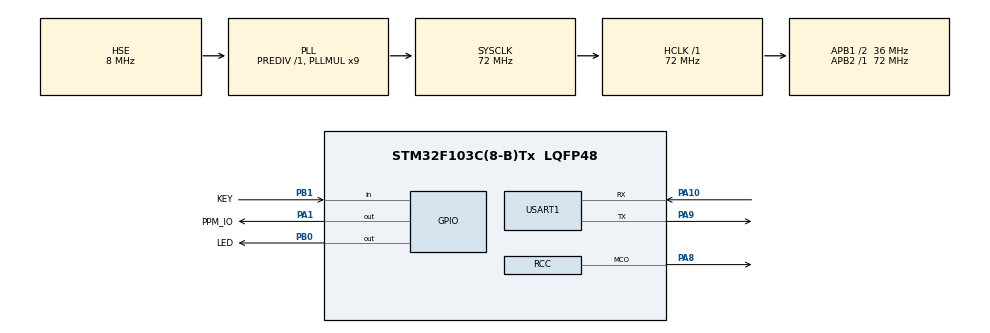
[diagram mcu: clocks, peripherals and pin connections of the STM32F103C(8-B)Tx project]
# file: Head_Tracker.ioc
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FREERTOS.Tasks01=defaultTask,0,128,StartDefaultTask,Default,NULL,Dynamic,NULL,NULL;UARTTask,-3,128,StartUARTTask,Default,NULL,Dynamic,NULL,NULL;PPMTask,-3,128,StartPPMTask,Default,NULL,Dynamic,NULL,NULL;KeyTask,-3,128,StartKeyTask,Default,NULL,Dynamic,NULL,NULL
Mcu.Family=STM32F1
Mcu.Name=STM32F103C(8-B)Tx
Mcu.Package=LQFP48
NVIC.PriorityGroup=NVIC_PRIORITYGROUP_4
NVIC.TIM4_IRQn=true\:15\:0\:false\:false\:true\:false\:false\:true\:true
NVIC.TimeBase=TIM4_IRQn
NVIC.TimeBaseIP=TIM4
PA1.GPIO_Label=PPM_IO
PA1.GPIO_ModeDefaultOutputPP=GPIO_MODE_OUTPUT_PP
PA1.Signal=GPIO_Output
PA10.Mode=Asynchronous
PA10.Signal=USART1_RX
PA13.Mode=Serial_Wire
PA13.Signal=SYS_JTMS-SWDIO
PA14.Mode=Serial_Wire
PA14.Signal=SYS_JTCK-SWCLK
PA8.Mode=Clock-out
PA8.Signal=RCC_MCO
PA9.Mode=Asynchronous
PA9.Signal=USART1_TX
PB0.GPIO_Label=LED
PB0.Signal=GPIO_Output
PB1.GPIO_Label=KEY
PB1.GPIO_PuPd=GPIO_PULLUP
PB1.Signal=GPIO_Input
PD0-OSC_IN.Mode=HSE-External-Oscillator
PD0-OSC_IN.Signal=RCC_OSC_IN
PD1-OSC_OUT.Mode=HSE-External-Oscillator
PD1-OSC_OUT.Signal=RCC_OSC_OUT
ProjectManager.HeapSize=0x200
ProjectManager.StackSize=0x400
ProjectManager.TargetToolchain=MDK-ARM V5.32
RCC.AHBFreq_Value=72000000
RCC.APB1CLKDivider=RCC_HCLK_DIV2
RCC.APB1Freq_Value=36000000
RCC.APB1TimFreq_Value=72000000
RCC.APB2Freq_Value=72000000
RCC.APB2TimFreq_Value=72000000
RCC.HCLKFreq_Value=72000000
RCC.PLLMUL=RCC_PLL_MUL9
RCC.PLLSourceVirtual=RCC_PLLSOURCE_HSE
RCC.RCC_MCOSource=RCC_MCO1SOURCE_PLLCLK
RCC.SYSCLKFreq_VALUE=72000000
RCC.SYSCLKSource=RCC_SYSCLKSOURCE_PLLCLK
RCC.USBFreq_Value=72000000
USART1.VirtualMode=VM_ASYNC
VP_FREERTOS_VS_CMSIS_V1.Mode=CMSIS_V1
VP_SYS_VS_tim4.Mode=TIM4
board=custom

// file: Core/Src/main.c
/* USER CODE BEGIN Header */
/**
  ******************************************************************************
  * @file           : main.c
  * @brief          : Main program body
  ******************************************************************************
  * @attention
  *
  * Copyright (c) 2025 STMicroelectronics.
  * All rights reserved.
  *
  * This software is licensed under terms that can be found in the LICENSE file
  * in the root directory of this software component.
  * If no LICENSE file comes with this software, it is provided AS-IS.
  *
  ******************************************************************************
  */
/* USER CODE END Header */
#include "main.h"
#include "cmsis_os.h"

/* USER CODE BEGIN Includes */
#include "task.h" // 引入FreeRTOS任务头文件以使用临界区
/* USER CODE END Includes */

UART_HandleTypeDef huart1;

osThreadId defaultTaskHandle;
osThreadId UARTTaskHandle;
osThreadId PPMTaskHandle;
osThreadId KeyTaskHandle;
/* USER CODE BEGIN PV */
uint16_t ppm_channels[3] = {1500, 1500, 1500}; // 3个通道的PPM值 (1000-2000us)
/* USER CODE END PV */

void SystemClock_Config(void);
static void MX_GPIO_Init(void);
static void MX_USART1_UART_Init(void);
void StartDefaultTask(void const * argument);
void StartUARTTask(void const * argument);
void StartPPMTask(void const * argument);
void StartKeyTask(void const * argument);

int main(void)
{

  /* MCU Configuration--------------------------------------------------------*/

  /* Reset of all peripherals, Initializes the Flash interface and the Systick. */
  HAL_Init();

  /* Configure the system clock */
  SystemClock_Config();

  /* Initialize all configured peripherals */
  MX_GPIO_Init();
  MX_USART1_UART_Init();

  /* Create the thread(s) */
  /* definition and creation of defaultTask */
  osThreadDef(defaultTask, StartDefaultTask, osPriorityNormal, 0, 128);
  defaultTaskHandle = osThreadCreate(osThread(defaultTask), NULL);

  /* definition and creation of UARTTask */
  osThreadDef(UARTTask, StartUARTTask, osPriorityIdle, 0, 128);
  UARTTaskHandle = osThreadCreate(osThread(UARTTask), NULL);

  /* definition and creation of PPMTask */
  osThreadDef(PPMTask, StartPPMTask, osPriorityIdle, 0, 128);
  PPMTaskHandle = osThreadCreate(osThread(PPMTask), NULL);

  /* definition and creation of KeyTask */
  osThreadDef(KeyTask, StartKeyTask, osPriorityIdle, 0, 128);
  KeyTaskHandle = osThreadCreate(osThread(KeyTask), NULL);

  /* Start scheduler */
  osKernelStart();

  /* We should never get here as control is now taken by the scheduler */

  /* Infinite loop */
  while (1)
  {

  }
}

void SystemClock_Config(void)
{
  RCC_OscInitTypeDef RCC_OscInitStruct = {0};
  RCC_ClkInitTypeDef RCC_ClkInitStruct = {0};

  /** Initializes the RCC Oscillators according to the specified parameters
  * in the RCC_OscInitTypeDef structure.
  */
  RCC_OscInitStruct.OscillatorType = RCC_OSCILLATORTYPE_HSE;
  RCC_OscInitStruct.HSEState = RCC_HSE_ON;
  RCC_OscInitStruct.HSEPredivValue = RCC_HSE_PREDIV_DIV1;
  RCC_OscInitStruct.HSIState = RCC_HSI_ON;
  RCC_OscInitStruct.PLL.PLLState = RCC_PLL_ON;
  RCC_OscInitStruct.PLL.PLLSource = RCC_PLLSOURCE_HSE;
  RCC_OscInitStruct.PLL.PLLMUL = RCC_PLL_MUL9;
  if (HAL_RCC_OscConfig(&RCC_OscInitStruct) != HAL_OK)
  {
    Error_Handler();
  }

  /** Initializes the CPU, AHB and APB buses clocks
  */
  RCC_ClkInitStruct.ClockType = RCC_CLOCKTYPE_HCLK|RCC_CLOCKTYPE_SYSCLK
                              |RCC_CLOCKTYPE_PCLK1|RCC_CLOCKTYPE_PCLK2;
  RCC_ClkInitStruct.SYSCLKSource = RCC_SYSCLKSOURCE_PLLCLK;
  RCC_ClkInitStruct.AHBCLKDivider = RCC_SYSCLK_DIV1;
  RCC_ClkInitStruct.APB1CLKDivider = RCC_HCLK_DIV2;
  RCC_ClkInitStruct.APB2CLKDivider = RCC_HCLK_DIV1;

  if (HAL_RCC_ClockConfig(&RCC_ClkInitStruct, FLASH_LATENCY_2) != HAL_OK)
  {
    Error_Handler();
  }
  HAL_RCC_MCOConfig(RCC_MCO, RCC_MCO1SOURCE_PLLCLK, RCC_MCODIV_1);
}

static void MX_USART1_UART_Init(void)
{

  huart1.Instance = USART1;
  huart1.Init.BaudRate = 115200;
  huart1.Init.WordLength = UART_WORDLENGTH_8B;
  huart1.Init.StopBits = UART_STOPBITS_1;
  huart1.Init.Parity = UART_PARITY_NONE;
  huart1.Init.Mode = UART_MODE_TX_RX;
  huart1.Init.HwFlowCtl = UART_HWCONTROL_NONE;
  huart1.Init.OverSampling = UART_OVERSAMPLING_16;
  if (HAL_UART_Init(&huart1) != HAL_OK)
  {
    Error_Handler();
  }

}

static void MX_GPIO_Init(void)
{
  GPIO_InitTypeDef GPIO_InitStruct = {0};

  /* GPIO Ports Clock Enable */
  __HAL_RCC_GPIOD_CLK_ENABLE();
  __HAL_RCC_GPIOA_CLK_ENABLE();
  __HAL_RCC_GPIOB_CLK_ENABLE();

  /*Configure GPIO pin Output Level */
  HAL_GPIO_WritePin(PPM_IO_GPIO_Port, PPM_IO_Pin, GPIO_PIN_RESET);

  /*Configure GPIO pin Output Level */
  HAL_GPIO_WritePin(LED_GPIO_Port, LED_Pin, GPIO_PIN_RESET);

  /*Configure GPIO pin : PPM_IO_Pin */
  GPIO_InitStruct.Pin = PPM_IO_Pin;
  GPIO_InitStruct.Mode = GPIO_MODE_OUTPUT_PP;
  GPIO_InitStruct.Pull = GPIO_NOPULL;
  GPIO_InitStruct.Speed = GPIO_SPEED_FREQ_LOW;
  HAL_GPIO_Init(PPM_IO_GPIO_Port, &GPIO_InitStruct);

  /*Configure GPIO pin : LED_Pin */
  GPIO_InitStruct.Pin = LED_Pin;
  GPIO_InitStruct.Mode = GPIO_MODE_OUTPUT_PP;
  GPIO_InitStruct.Pull = GPIO_NOPULL;
  GPIO_InitStruct.Speed = GPIO_SPEED_FREQ_LOW;
  HAL_GPIO_Init(LED_GPIO_Port, &GPIO_InitStruct);

  /*Configure GPIO pin : KEY_Pin */
  GPIO_InitStruct.Pin = KEY_Pin;
  GPIO_InitStruct.Mode = GPIO_MODE_INPUT;
  GPIO_InitStruct.Pull = GPIO_PULLUP;
  HAL_GPIO_Init(KEY_GPIO_Port, &GPIO_InitStruct);

  /*Configure GPIO pin : PA8 */
  GPIO_InitStruct.Pin = GPIO_PIN_8;
  GPIO_InitStruct.Mode = GPIO_MODE_AF_PP;
  GPIO_InitStruct.Speed = GPIO_SPEED_FREQ_LOW;
  HAL_GPIO_Init(GPIOA, &GPIO_InitStruct);

}

void StartDefaultTask(void const * argument)
{
  /* USER CODE BEGIN 5 */
  int16_t dir[3] = {10, 20, 30}; // 步进方向和速度

  /* Infinite loop */
  for(;;)
  {
    for(int i=0; i<3; i++)
    {
      ppm_channels[i] += dir[i];

      if(ppm_channels[i] >= 2000)
      {
        ppm_channels[i] = 2000;
        dir[i] = -dir[i]; // 反转方向
      }
      else if(ppm_channels[i] <= 1000)
      {
        ppm_channels[i] = 1000;
        dir[i] = -dir[i]; // 反转方向
      }
    }

    osDelay(20); // 20ms更新一次
  }
  /* USER CODE END 5 */
}

void StartUARTTask(void const * argument)
{
  for(;;)
  {
    osDelay(1);
  }
}

void StartPPMTask(void const * argument)
{
  /* USER CODE BEGIN StartPPMTask */
  // 开启DWT计数器用于微秒延时
  CoreDebug->DEMCR |= CoreDebug_DEMCR_TRCENA_Msk;
  DWT->CYCCNT = 0;
  DWT->CTRL |= DWT_CTRL_CYCCNTENA_Msk;

  const uint32_t PPM_FRAME_LEN_US = 20000; // 20ms
  const uint32_t PULSE_WIDTH_US = 300;     // 300us 低电平脉冲
  const uint32_t CHANNEL_COUNT = 3;

  /* Infinite loop */
  for(;;)
  {
    uint32_t current_frame_us = 0;

    // 进入临界区，关闭中断以保证PPM时序精确
    taskENTER_CRITICAL();

    for(int i=0; i<CHANNEL_COUNT; i++)
    {
      uint16_t val = ppm_channels[i];
      if(val < 1000) val = 1000;
      if(val > 2000) val = 2000;

      // 1. 发送分隔脉冲 (低电平 300us)
      HAL_GPIO_WritePin(PPM_IO_GPIO_Port, PPM_IO_Pin, GPIO_PIN_RESET);
      uint32_t start = DWT->CYCCNT;
      uint32_t cycles = PULSE_WIDTH_US * (SystemCoreClock / 1000000);
      while ((DWT->CYCCNT - start) < cycles);

      // 2. 发送数据脉冲 (高电平 Val-300 us)
      HAL_GPIO_WritePin(PPM_IO_GPIO_Port, PPM_IO_Pin, GPIO_PIN_SET);
      start = DWT->CYCCNT;
      cycles = (val - PULSE_WIDTH_US) * (SystemCoreClock / 1000000);
      while ((DWT->CYCCNT - start) < cycles);

      current_frame_us += val;
    }

    // 发送最后一个分隔脉冲 (低电平 300us)
    HAL_GPIO_WritePin(PPM_IO_GPIO_Port, PPM_IO_Pin, GPIO_PIN_RESET);
    uint32_t start = DWT->CYCCNT;
    uint32_t cycles = PULSE_WIDTH_US * (SystemCoreClock / 1000000);
    while ((DWT->CYCCNT - start) < cycles);

    current_frame_us += PULSE_WIDTH_US;

    // 恢复高电平 (同步信号)
    HAL_GPIO_WritePin(PPM_IO_GPIO_Port, PPM_IO_Pin, GPIO_PIN_SET);

    taskEXIT_CRITICAL();

    // 延时补齐20ms帧周期
    // 计算剩余时间 (ms)
    uint32_t elapsed_ms = current_frame_us / 1000;
    if (elapsed_ms < 16) // 留出至少4ms同步时间
    {
      osDelay(20 - elapsed_ms);
    }
    else
    {
      osDelay(4); // 至少给4ms同步时间
    }
  }
  /* USER CODE END StartPPMTask */
}

void StartKeyTask(void const * argument)
{
  /* USER CODE BEGIN StartKeyTask */
  static GPIO_PinState lastKeyState = GPIO_PIN_SET; // 初始状态为高（上拉）
  static GPIO_PinState ledState = GPIO_PIN_RESET;   // LED初始状态为低
  static uint32_t debounceCounter = 0;
  const uint32_t DEBOUNCE_DELAY = 50; // 防抖延迟50ms (假设系统时钟为1ms)

  /* Infinite loop */
  for(;;)
  {
    GPIO_PinState currentKeyState = HAL_GPIO_ReadPin(KEY_GPIO_Port, KEY_Pin);

    // 检测按键状态变化
    if (currentKeyState != lastKeyState)
    {
      // 状态变化，开始防抖计数
      if (debounceCounter == 0)
      {
        debounceCounter = DEBOUNCE_DELAY;
      }
      else
      {
        debounceCounter--;
        if (debounceCounter == 0)
        {
          // 防抖完成，确认状态变化
          if (currentKeyState == GPIO_PIN_RESET) // 按键按下（低电平）
          {
            // 切换LED状态
            ledState = (ledState == GPIO_PIN_RESET) ? GPIO_PIN_SET : GPIO_PIN_RESET;
            HAL_GPIO_WritePin(LED_GPIO_Port, LED_Pin, ledState);
          }
          lastKeyState = currentKeyState;
        }
      }
    }
    else
    {
      // 状态稳定，重置防抖计数
      debounceCounter = 0;
    }

    osDelay(1); // 1ms延迟
  }
  /* USER CODE END StartKeyTask */
}

void HAL_TIM_PeriodElapsedCallback(TIM_HandleTypeDef *htim)
{
  if (htim->Instance == TIM4)
  {
    HAL_IncTick();
  }
}

void Error_Handler(void)
{
  __disable_irq();
  while (1)
  {
  }
}
